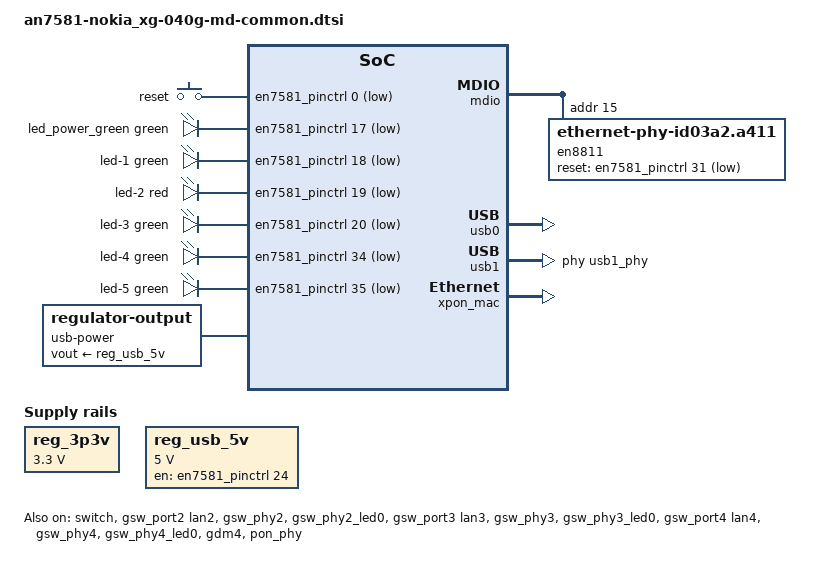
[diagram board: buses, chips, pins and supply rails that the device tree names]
// SPDX-License-Identifier: GPL-2.0-only OR MIT

/dts-v1/;
#include <dt-bindings/leds/common.h>
#include <dt-bindings/gpio/gpio.h>
#include <dt-bindings/input/input.h>
#include "an7581.dtsi"
#include "an758x-nokia_xg-040g-common.dtsi"

/ {
	gpio-keys {
		compatible = "gpio-keys";

		button-0 {
			label = "reset";
			linux,code = <KEY_RESTART>;
			gpios = <&en7581_pinctrl 0 GPIO_ACTIVE_LOW>;
			debounce-interval = <60>;
		};
	};

	leds {
		compatible = "gpio-leds";

		led_power_green: led-0 {
			color = <LED_COLOR_ID_GREEN>;
			function = LED_FUNCTION_POWER;
			gpios = <&en7581_pinctrl 17 GPIO_ACTIVE_LOW>;
			panic-indicator;
		};

		led-1 {
			color = <LED_COLOR_ID_GREEN>;
			function = LED_FUNCTION_WAN;
			gpios = <&en7581_pinctrl 18 GPIO_ACTIVE_LOW>;
		};

		led-2 {
			color = <LED_COLOR_ID_RED>;
			function = LED_FUNCTION_WAN;
			gpios = <&en7581_pinctrl 19 GPIO_ACTIVE_LOW>;
		};

		led-3 {
			color = <LED_COLOR_ID_GREEN>;
			function = LED_FUNCTION_WAN_ONLINE;
			gpios = <&en7581_pinctrl 20 GPIO_ACTIVE_LOW>;
		};

		led-4 {
			color = <LED_COLOR_ID_GREEN>;
			function = LED_FUNCTION_USB;
			function-enumerator = <2>;
			gpios = <&en7581_pinctrl 34 GPIO_ACTIVE_LOW>;
			linux,default-trigger = "usbport";
			trigger-sources = <&usb_port2>;
		};

		led-5 {
			color = <LED_COLOR_ID_GREEN>;
			function = LED_FUNCTION_USB;
			function-enumerator = <1>;
			gpios = <&en7581_pinctrl 35 GPIO_ACTIVE_LOW>;
			linux,default-trigger = "usbport";
			trigger-sources = <&usb_port1>;
		};
	};

	reg_3p3v: regulator-3p3v {
		compatible = "regulator-fixed";
		regulator-always-on;
		regulator-boot-on;
		regulator-max-microvolt = <3300000>;
		regulator-min-microvolt = <3300000>;
		regulator-name = "fixed-3.3V";
	};

	reg_usb_5v: regulator-usb-5v {
		compatible = "regulator-fixed";
		enable-active-high;
		gpio = <&en7581_pinctrl 24 GPIO_ACTIVE_HIGH>;
		regulator-boot-on;
		regulator-max-microvolt = <5000000>;
		regulator-min-microvolt = <5000000>;
		regulator-name = "usb-5v";
	};

	/*
	 * Controls both USB ports at once
	 */
	usb-power {
		compatible = "regulator-output";
		vout-supply = <&reg_usb_5v>;
	};
};

&en7581_pinctrl {
	gpio-ranges = <&en7581_pinctrl 0 13 50>;

	mdio_pins: mdio-pins {
		mux {
			function = "mdio";
			groups = "mdio";
		};

		conf {
			pins = "gpio2";
			output-high;
		};
	};

	gswp2_led0_pins: gswp2-led0-pins {
		mux {
			function = "phy2_led0";
			pins = "gpio44";
		};
	};

	gswp3_led0_pins: gswp3-led0-pins {
		mux {
			function = "phy3_led0";
			pins = "gpio45";
		};
	};

	gswp4_led0_pins: gswp4-led0-pins {
		mux {
			function = "phy4_led0";
			pins = "gpio46";
		};
	};
};

&mdio {
	/*
	 * 不设 default-state：phy_device.c 里没有这个属性，of_phy_led() 只解析
	 * active-low / active-high / inactive-high-impedance，PHY LED 上它是死的，
	 * 留着只会让人误以为亮度被保留了。
	 *
	 * LED 规则也不必在这里写。驱动 probe 时就给三路预置了默认触发条件
	 * （LED0 = link + rx + tx），config_init 里的 air_leds_init() 会写进 PHY。
	 * 引脚方向被 MCU 重启清掉导致灯常灭的问题见 patches-6.18/805。
	 */
	en8811: ethernet-phy@f {
		compatible = "ethernet-phy-id03a2.a411";
		reg = <0xf>;

		reset-gpios = <&en7581_pinctrl 31 GPIO_ACTIVE_LOW>;
		reset-assert-us = <10000>;
		reset-deassert-us = <20000>;

		leds {
			#address-cells = <1>;
			#size-cells = <0>;

			led-0 {
				reg = <0>;
				color = <LED_COLOR_ID_GREEN>;
				function = LED_FUNCTION_LAN;
				function-enumerator = <1>;
			};
		};
	};
};

&switch {
	status = "okay";

	pinctrl-names = "default";
	pinctrl-0 = <&mdio_pins>;
};

&gsw_port2 {
	status = "okay";

	label = "lan2";
};

&gsw_phy2 {
	status = "okay";

	interrupts = <2>;

	pinctrl-names = "gbe-led";
	pinctrl-0 = <&gswp2_led0_pins>;
};

&gsw_phy2_led0 {
	status = "okay";

	color = <LED_COLOR_ID_GREEN>;
	function = LED_FUNCTION_LAN;
	function-enumerator = <2>;
	active-low;
};

&gsw_port3 {
	status = "okay";

	label = "lan3";
};

&gsw_phy3 {
	status = "okay";

	interrupts = <3>;

	pinctrl-names = "gbe-led";
	pinctrl-0 = <&gswp3_led0_pins>;
};

&gsw_phy3_led0 {
	status = "okay";

	color = <LED_COLOR_ID_GREEN>;
	function = LED_FUNCTION_LAN;
	function-enumerator = <3>;
	active-low;
};

&gsw_port4 {
	status = "okay";

	label = "lan4";
};

&gsw_phy4 {
	status = "okay";

	interrupts = <4>;

	pinctrl-names = "gbe-led";
	pinctrl-0 = <&gswp4_led0_pins>;
};

&gsw_phy4_led0 {
	status = "okay";

	color = <LED_COLOR_ID_GREEN>;
	function = LED_FUNCTION_LAN;
	function-enumerator = <4>;
	active-low;
};

&gdm4 {
	status = "okay";

	openwrt,netdev-name = "lan1";

	phy-handle = <&en8811>;
	phy-mode = "2500base-x";

	nvmem-cell-names = "mac-address";
	nvmem-cells = <&macaddr_factory_3e (0)>;
};

&usb0 {
	status = "okay";

	vusb33-supply = <&reg_3p3v>;

	#address-cells = <1>;
	#size-cells = <0>;

	usb_port1: port@1 {
		reg = <1>;
		#trigger-source-cells = <0>;
	};
};

&usb1 {
	status = "okay";

	mediatek,u3p-dis-msk = <0x1>;
	phys = <&usb1_phy PHY_TYPE_USB2>;
	vusb33-supply = <&reg_3p3v>;

	#address-cells = <1>;
	#size-cells = <0>;

	usb_port2: port@1 {
		reg = <1>;
		#trigger-source-cells = <0>;
	};
};

/*
 * PON 光口（实验中，需配合 kmod-airoha-xpon-en757x）。
 *
 * 这是第 2 步：只启用地址不与上游驱动冲突的 xpon_mac / pon_phy，先看这两个
 * 能不能 probe 起来。原厂 DTB 里另外还有两个节点没在这里启用：
 *
 *   econet,ecnt-scu          reg[0]=0x1fb00000，撞上游 scuclk(clock-controller@1fb00000)
 *   airoha,serdes_common_phy reg[0..2]=0x1fa5a000/b/c，撞上游 pciephy(phy@1fa5a000)
 *
 * 那两个驱动都用 devm_ioremap_resource()，会 request_mem_region，地址被上游
 * 占着就直接 -EBUSY。要怎么处置得看这一步 probe 出来的实际报错再定。
 */
&xpon_mac {
	status = "okay";
};

&pon_phy {
	status = "okay";
};
